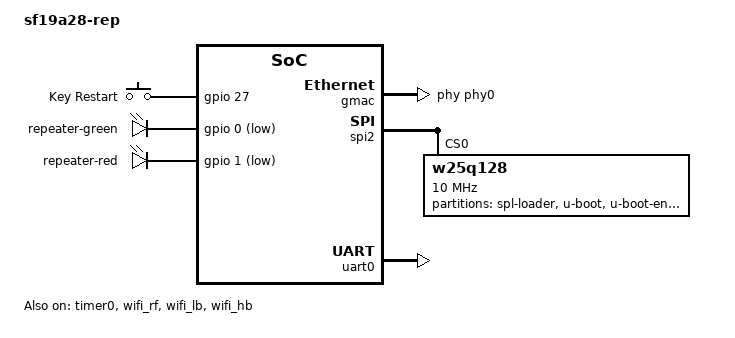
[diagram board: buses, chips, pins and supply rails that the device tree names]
/dts-v1/;

/memreserve/ 0x04000000 0x03ffffff;

#include "sf19a28_fullmask.dtsi"
#include "sf19a28-thermal_common.dtsi"

/ {
	#address-cells = <1>;
	#size-cells = <1>;
	compatible = "siflower,sf19a28-soc";
	model = "sf19a28-rep";

};

&gmac {
	status = "okay";
	delay = <0x40 0x20>;
	phy = <&phy0>;
	phy0: ethernet-phy@0 {
		  max-speed = <1000>;
	};
};

&spi2 {
	status = "okay";
	//use-dma;
	dmas = <&gdma 10
	&gdma 11>;
	dma-names = "tx", "rx";

	#address-cells = <1>;
	#size-cells = <0>;

	w25q128@0 {
		compatible = "w25q128";
		reg = <0>;	/* chip select */
		spi-max-frequency = <10000000>;

		bank-width = <2>;
		device-width = <2>;
		#address-cells = <1>;
		#size-cells = <1>;

		partition@0 {
			label = "spl-loader";
			reg = <0x0 0x20000>; /* 128k */
			read-only;
		};

		partition@20000 {
			label = "u-boot";
			reg = <0x20000 0x60000>; /* 384k */
		};

		partition@80000 {
			label = "u-boot-env";
			reg = <0x80000 0x10000>; /* 64k */
		};

		factory:partition@90000 {
			label = "factory";
			reg = <0x90000 0x10000>; /* 64k */
		};

		partition@a0000 {
			label = "firmware";
			reg = <0xa0000 0x760000>; /* 640k-16M */
		};
	};
};

&uart0 {
	status = "okay";
};
&timer0 {
	status = "okay";
};

&wifi_rf {
	status = "okay";
    /*only support ext pa for 5G*/
	/*force_expa = <1>;*/
};

&gpio_keys {
	status = "okay";
	restart@27 {
		label = "Key Restart";
		linux,code = <0x198>;
		gpios = <&gpio 27 0>;
		poll-interval = <10>;
		debounce-interval = <20>;
	};
};

&wifi_lb {
	status = "okay";

	#address-cells = <1>;
	#size-cells = <0>;
	gpio-leds = <&gpio 12 0>;
	smp-affinity = <2>;
};

&wifi_hb {
	status = "okay";

	#address-cells = <1>;
	#size-cells = <0>;
	gpio-leds = <&gpio 12 0>;
	smp-affinity = <3>;
};

&leds {
	status = "okay";
	repeater-green {
		label = "repeater-green";
		gpios = <&gpio 0 1>;
		linux,default-trigger = "timer";
	};
	repeater-red {
		label = "repeater-red";
		gpios = <&gpio 1 1>;
		linux,default-trigger = "none";
	};
};
